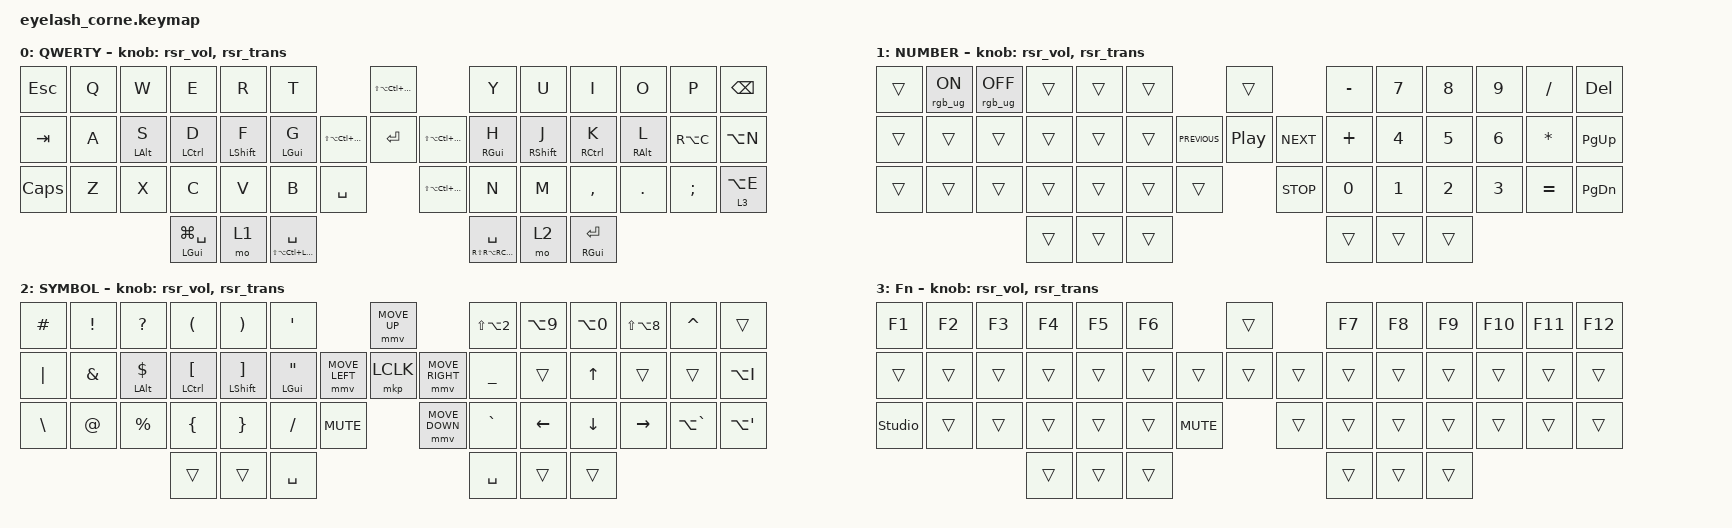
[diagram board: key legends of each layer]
#define ZMK_POINTING_DEFAULT_MOVE_VAL 1200  // 600
#define ZMK_POINTING_DEFAULT_SCRL_VAL 20   // 10

#include <input/processors.dtsi>
#include <zephyr/dt-bindings/input/input-event-codes.h>
#include <behaviors/runtime-sensor-rotate.dtsi>
#include <behaviors.dtsi>
#include <dt-bindings/zmk/keys.h>
#include <dt-bindings/zmk/pointing.h>
#include <dt-bindings/zmk/rgb.h>

&mmv_input_listener { input-processors = <&zip_xy_scaler 2 1>; };

&msc_input_listener { input-processors = <&zip_scroll_scaler 2 1>; };

&msc {
    delay-ms = <0>;                   // 0
};

&mmv {
    time-to-max-speed-ms = <500>;
    acceleration-exponent = <1>;
    trigger-period-ms = <16>;
};

&soft_off { hold-time-ms = <2000>; };

/ {
    behaviors {
        td0: td0 {
            compatible = "zmk,behavior-tap-dance";
            display-name = "Shift/Caps Lock Tap Dance";
            #binding-cells = <0>;
            bindings = <&kp LEFT_SHIFT>, <&kp CAPS>;
        };

        hml: home_row_mod_left {
            compatible = "zmk,behavior-hold-tap";
            bindings = <&kp>, <&kp>;

            #binding-cells = <2>;
            tapping-term-ms = <200>;
            quick-tap-ms = <175>;
            require-prior-idle-ms = <125>;
            flavor = "balanced";
            hold-trigger-key-positions = <7 22 36 37 23 8 9 24 38 39 25 10 11 26 40 41 27 12>;
            hold-trigger-on-release;
        };

        hmr: home_row_mod_right {
            compatible = "zmk,behavior-hold-tap";
            bindings = <&kp>, <&kp>;

            #binding-cells = <2>;
            tapping-term-ms = <200>;
            quick-tap-ms = <175>;
            require-prior-idle-ms = <125>;
            flavor = "balanced";
            hold-trigger-key-positions = <5 18 33 32 17 4 3 16 31 30 15 2 1 14 29 28 13 0>;
            hold-trigger-on-release;
        };

        rsr_trans: rsr_trans {
            compatible = "zmk,behavior-runtime-sensor-rotate";
            #sensor-binding-cells = <0>;
            tap-ms = <0>;
        };

        rsr_vol: rsr_vol {
            compatible = "zmk,behavior-runtime-sensor-rotate";
            #sensor-binding-cells = <0>;
            tap-ms = <5>;
            cw-binding = <&kp C_VOL_UP>;
            ccw-binding = <&kp C_VOL_DN>;
        };
    };

    rgb_encoder: rgb_encoder {
        compatible = "zmk,behavior-sensor-rotate";
        #sensor-binding-cells = <0>;
        bindings = <&rgb_ug RGB_BRI>, <&rgb_ug RGB_BRD>;
    };

    scroll_encoder: scroll_encoder {
        compatible = "zmk,behavior-sensor-rotate";
        #sensor-binding-cells = <0>;
        bindings = <&msc SCRL_UP>, <&msc SCRL_DOWN>;

        tap-ms = <100>;
    };

    combos {
        compatible = "zmk,combos";

        softoff {
            bindings = <&soft_off>;
            key-positions = <1 15 29>;
        };
    };

    keymap {
        compatible = "zmk,keymap";

        default_layer {
            display-name = "QWERTY";
            bindings = <
&kp ESCAPE    &kp Q  &kp W            &kp E                &kp R              &kp T                                                                  &kp LS(LA(LC(LG(UP))))                               &kp Y                            &kp U               &kp I                 &kp O             &kp P          &kp BSPC
&kp TAB       &kp A  &hml LEFT_ALT S  &hml LEFT_CONTROL D  &hml LEFT_SHIFT F  &hml LEFT_GUI G                              &kp LS(LA(LC(LG(LEFT))))  &kp ENTER                 &kp LS(LA(LC(LG(RIGHT))))  &hmr RIGHT_GUI H                 &hmr RIGHT_SHIFT J  &hmr RIGHT_CONTROL K  &hmr RIGHT_ALT L  &kp RA(C)      &kp LA(N)
&kp CAPSLOCK  &kp Z  &kp X            &kp C                &kp V              &kp B                           &kp SPACE                              &kp LS(LA(LC(LG(DOWN))))                             &kp N                            &kp M               &kp COMMA             &kp DOT           &kp SEMICOLON  &lt 3 LA(E)
                                      &mt LGUI LG(SPACE)   &mo 1              &mt LS(LA(LC(LEFT_GUI))) SPACE                                                                                              &mt RS(RA(RC(RIGHT_GUI))) SPACE  &mo 2               &mt RIGHT_GUI ENTER
            >;

            sensor-bindings = <&rsr_vol &rsr_trans>;
        };

        number_layer {
            display-name = "NUMBER";
            bindings = <
&trans  &rgb_ug RGB_ON  &rgb_ug RGB_OFF  &trans  &trans  &trans                            &trans                        &kp MINUS     &kp N7        &kp N8        &kp N9        &kp SLASH     &kp DELETE
&trans  &trans          &trans           &trans  &trans  &trans            &kp C_PREVIOUS  &kp C_PLAY_PAUSE  &kp C_NEXT  &kp PLUS      &kp NUMBER_4  &kp NUMBER_5  &kp NUMBER_6  &kp ASTERISK  &kp PG_UP
&trans  &trans          &trans           &trans  &trans  &trans  &trans                    &kp C_STOP                    &kp NUMBER_0  &kp NUMBER_1  &kp NUMBER_2  &kp NUMBER_3  &kp EQUAL     &kp PG_DN
                                         &trans  &trans  &trans                                                          &trans        &trans        &trans
            >;

            sensor-bindings = <&rsr_vol &rsr_trans>;
        };

        symbol_layer {
            display-name = "SYMBOL";
            bindings = <
&kp HASH       &kp EXCL       &kp QUESTION          &kp LEFT_PARENTHESIS            &kp RIGHT_PARENTHESIS          &kp SINGLE_QUOTE                                           &mmv MOVE_UP                     &kp LS(LA(NUMBER_2))  &kp LA(NUMBER_9)  &kp LA(NUMBER_0)  &kp LS(LA(NUMBER_8))  &kp CARET      &trans
&kp PIPE       &kp AMPERSAND  &hml LEFT_ALT DOLLAR  &hml LEFT_CONTROL LEFT_BRACKET  &hml LEFT_SHIFT RIGHT_BRACKET  &hml LEFT_GUI DOUBLE_QUOTES                &mmv MOVE_LEFT  &mkp LCLK       &mmv MOVE_RIGHT  &kp UNDERSCORE        &trans            &kp UP_ARROW      &trans                &trans         &kp LA(I)
&kp BACKSLASH  &kp AT_SIGN    &kp PERCENT           &kp LEFT_BRACE                  &kp RIGHT_BRACE                &kp SLASH                    &kp C_MUTE                    &mmv MOVE_DOWN                   &kp GRAVE             &kp LEFT_ARROW    &kp DOWN_ARROW    &kp RIGHT_ARROW       &kp LA(GRAVE)  &kp LA(SINGLE_QUOTE)
                                                    &trans                          &trans                         &kp SPACE                                                                                   &kp SPACE             &trans            &trans
            >;

            sensor-bindings = <&rsr_vol &rsr_trans>;
        };

        extra_layer {
            display-name = "Fn";
            bindings = <
&kp F1          &kp F2  &kp F3  &kp F4  &kp F5  &kp F6                        &trans          &kp F7  &kp F8  &kp F9  &kp F10  &kp F11  &kp F12
&trans          &trans  &trans  &trans  &trans  &trans                &trans  &trans  &trans  &trans  &trans  &trans  &trans   &trans   &trans
&studio_unlock  &trans  &trans  &trans  &trans  &trans  &kp C_MUTE            &trans          &trans  &trans  &trans  &trans   &trans   &trans
                                &trans  &trans  &trans                                        &trans  &trans  &trans
            >;

            sensor-bindings = <&rsr_vol &rsr_trans>;
        };
    };
};
